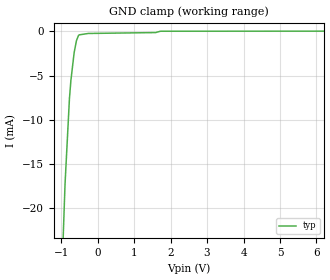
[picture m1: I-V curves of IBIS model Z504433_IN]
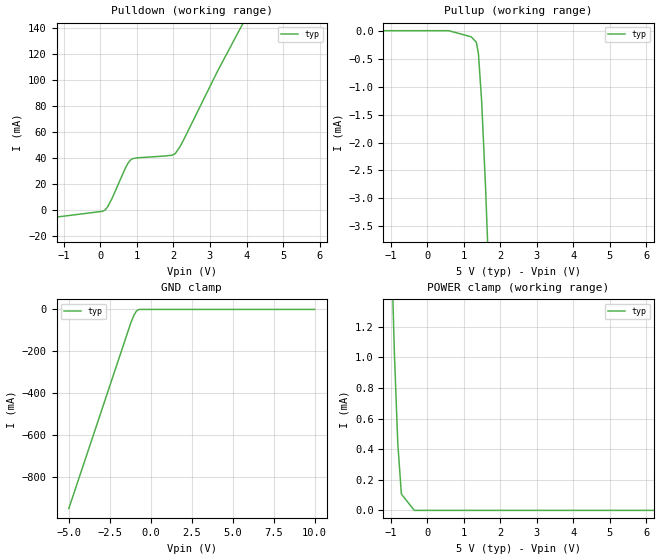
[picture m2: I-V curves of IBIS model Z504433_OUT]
| YOU ARE ONLY AUTHORIZED TO USE THIS SOFTWARE
| ACCORDING TO LICENSOR'S LICENSE RESTRICTIONS.
[IBIS Ver] 3.1
[File Name] sn54ls280j.ibs
[File Rev] 2.0
[Source] Measured and created by ICX Technology
[Date] Friday 7/14/00 9:08:14 AM
[Copyright]
| (C) COPYRIGHT 1993-2000
| MENTOR GRAPHICS CORPORATION
| ICX STANDARD LIBRARY, ICX PROJECT MODELING,
| ICX CUSTOM MODELING, ICX VENDOR MODEL
| ALL RIGHTS RESERVED.
| THE FOLLOWING ARE TRADEMARKS OR SERVICE MARKS OF
| MENTOR GRAPHICS CORPORATION:ICX (R), ICX STANDARD
| LIBRARY(R), ICX PROJECT MODELING(R), ICX CUSTOM
| MODELING(R), qualityIBIS(TM), MODELVIEWER(TM),
| AND MODELEDITOR(TM)
| ALL COPIES OF SOFTWARE, INCLUDING BUT NOT LIMITED TO
| ANY MODIFICATIONS, ENHANCEMENTS OR DERIVATIVE WORKS,
| MUST CONTAIN ALL MENTOR GRAPHICS CORPORATION'S
| NOTICES AND LEGENDS, INCLUDING THOSE EMBEDDED IN
| SOFTWARE AND THOSE AFFIXED TO SOFTWARE MEDIUM
| AND CONTAINER, AS RECEIVED FROM MENTOR GRAPHICS
| CORPORATION.
|  ZAP Model Builder 2.7
[Component] SN54LS280J
[Manufacturer] OnSemiconductor
[Package]
| variable   typ   min   max
R_pkg  .21ohms NA NA
L_pkg  4.543nH NA NA
C_pkg  1.8pF NA NA
[Pin] signal_name  model_name  R_pin  L_pin C_pin
1 G Z504433_IN .22 6.757n 2.434p
2 H Z504433_IN .212 4.757n 1.941p
3 NC NC .204 3.257n 1.448p
4 I Z504433_IN .196 2.257n .955p
5 EVEN Z504433_OUT .204 3.257n 1.448p
6 _ODD Z504433_OUT .212 4.757n 1.941p
7 GND GND .22 6.757n 2.434p
8 A Z504433_IN .22 6.757n 2.434p
9 B Z504433_IN .212 4.757n 1.941p
10 C Z504433_IN .204 3.257n 1.448p
11 D Z504433_IN .196 2.257n .955p
12 E Z504433_IN .204 3.257n 1.448p
13 F Z504433_IN .212 4.757n 1.941p
14 VCC POWER .22 6.757n 2.434p
| Models and submodels in the file (2): Z504433_IN (Input), Z504433_OUT (Output)
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| (C) COPYRIGHT 1993-2000
| MENTOR GRAPHICS CORPORATION
| ICX STANDARD LIBRARY, ICX PROJECT MODELING,
| ICX CUSTOM MODELING, ICX VENDOR MODEL
| ALL RIGHTS RESERVED.
| THE FOLLOWING ARE TRADEMARKS OR SERVICE MARKS OF
| MENTOR GRAPHICS CORPORATION:ICX (R), ICX STANDARD
| LIBRARY(R), ICX PROJECT MODELING(R), ICX CUSTOM
| MODELING(R), qualityIBIS(TM), MODELVIEWER(TM),
| AND MODELEDITOR(TM)
| ALL COPIES OF SOFTWARE, INCLUDING BUT NOT LIMITED TO
| ANY MODIFICATIONS, ENHANCEMENTS OR DERIVATIVE WORKS,
| MUST CONTAIN ALL MENTOR GRAPHICS CORPORATION'S
| NOTICES AND LEGENDS, INCLUDING THOSE EMBEDDED IN
| SOFTWARE AND THOSE AFFIXED TO SOFTWARE MEDIUM
| AND CONTAINER, AS RECEIVED FROM MENTOR GRAPHICS
| CORPORATION.
| Model Application Version 1.89 2/18/99.
[Model] Z504433_IN
Model_type Input
Vinl = 800.0mV
Vinh = 2.000V
C_comp 4.000pF NA NA
| variable typ   min   max
[Voltage Range] 5.000V NA NA
[GND Clamp Reference] 0.000V NA NA
[POWER Clamp Reference] 5.000V NA NA
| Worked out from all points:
|   GND clamp passes 1 mA (typ) near -0.57 V on its own axis
[GND Clamp]
-5V       -505mA     NA         NA
-892.6mV  -17.25mA   NA         NA
-771.5mV  -7.578mA   NA         NA
-732.4mV  -5.575mA   NA         NA
-642.3mV  -2.394mA   NA         NA
-579.8mV  -1.069mA   NA         NA
-527.2mV  -506.4uA   NA         NA
-502.9mV  -409.6uA   NA         NA
-251.5mV  -255.9uA   NA         NA
1.587V    -156.1uA   NA         NA
1.723V    -5.668uA   NA         NA
10V       12.43uA    NA         NA
[POWER Clamp]
-5V       0A         NA         NA
10V       0A         NA         NA
| (C) COPYRIGHT 1993-2000
| MENTOR GRAPHICS CORPORATION
| ICX STANDARD LIBRARY, ICX PROJECT MODELING,
| ICX CUSTOM MODELING, ICX VENDOR MODEL
| ALL RIGHTS RESERVED.
| THE FOLLOWING ARE TRADEMARKS OR SERVICE MARKS OF
| MENTOR GRAPHICS CORPORATION:ICX (R), ICX STANDARD
| LIBRARY(R), ICX PROJECT MODELING(R), ICX CUSTOM
| MODELING(R), qualityIBIS(TM), MODELVIEWER(TM),
| AND MODELEDITOR(TM)
| ALL COPIES OF SOFTWARE, INCLUDING BUT NOT LIMITED TO
| ANY MODIFICATIONS, ENHANCEMENTS OR DERIVATIVE WORKS,
| MUST CONTAIN ALL MENTOR GRAPHICS CORPORATION'S
| NOTICES AND LEGENDS, INCLUDING THOSE EMBEDDED IN
| SOFTWARE AND THOSE AFFIXED TO SOFTWARE MEDIUM
| AND CONTAINER, AS RECEIVED FROM MENTOR GRAPHICS
| CORPORATION.
| Model Application Version 1.89 2/18/99.
[Model] Z504433_OUT
Model_type Output
Vref=5.000V
Rref=2.000kohms
Cref=15.00pF
Vmeas=1.300V
C_comp 8.000pF NA NA
| variable typ   min   max
[Voltage Range] 5.000V NA NA
[POWER Clamp Reference] 5.000V NA NA
[Pullup Reference] 5.000V NA NA
[Pulldown Reference] 0.000V NA NA
[GND Clamp Reference] 0.000V NA NA
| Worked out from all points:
|   slope of the pulldown table from 0 to 0.75 V, typ, clamps not added: 20.3 ohm
|   slope of the pullup table from 0 to 0.75 V, typ, clamps not added: 25.5 kohm
|   GND clamp passes 1 mA (typ) near -0.73 V on its own axis
|   POWER clamp passes 1 mA (typ) near -0.90 V on its own axis
[GND Clamp]
-5V       -952.1mA   NA         NA
-1.211V   -63.26mA   NA         NA
-1.014V   -26.1mA    NA         NA
-873.9mV  -8.399mA   NA         NA
-763.9mV  -1.299mA   NA         NA
-636.6mV  0A         NA         NA
10V       0A         NA         NA
[Pulldown]
-5V       -18.51mA   NA         NA
131.7mV   225.4uA    NA         NA
321.5mV   9.267mA    NA         NA
688.6mV   32.8mA     NA         NA
766.6mV   36.75mA    NA         NA
844.2mV   39.21mA    NA         NA
1.002V    40.41mA    NA         NA
1.958V    42.45mA    NA         NA
2.056V    43.92mA    NA         NA
2.266V    53.49mA    NA         NA
3.203V    106.9mA    NA         NA
10V       466.4mA    NA         NA
[Pullup]
-5V       14.75uA    NA         NA
586mV     14.75uA    NA         NA
1.203V    -96.01uA   NA         NA
1.343V    -193uA     NA         NA
1.401V    -398.2uA   NA         NA
1.489V    -1.252mA   NA         NA
1.596V    -2.795mA   NA         NA
10V       -151.6mA   NA         NA
[POWER Clamp]
-5V       41.79mA    NA         NA
-1.011V   1.971mA    NA         NA
-898mV    1.019mA    NA         NA
-806mV    436.1uA    NA         NA
-708mV    106.5uA    NA         NA
-354mV    0A         NA         NA
10V       0A         NA         NA
[Ramp]
| variable typ min max
dV/dt_r 1.861/12.95n NA NA
dV/dt_f 1.861/1.927n NA NA
R_load = 500.0Ohms
